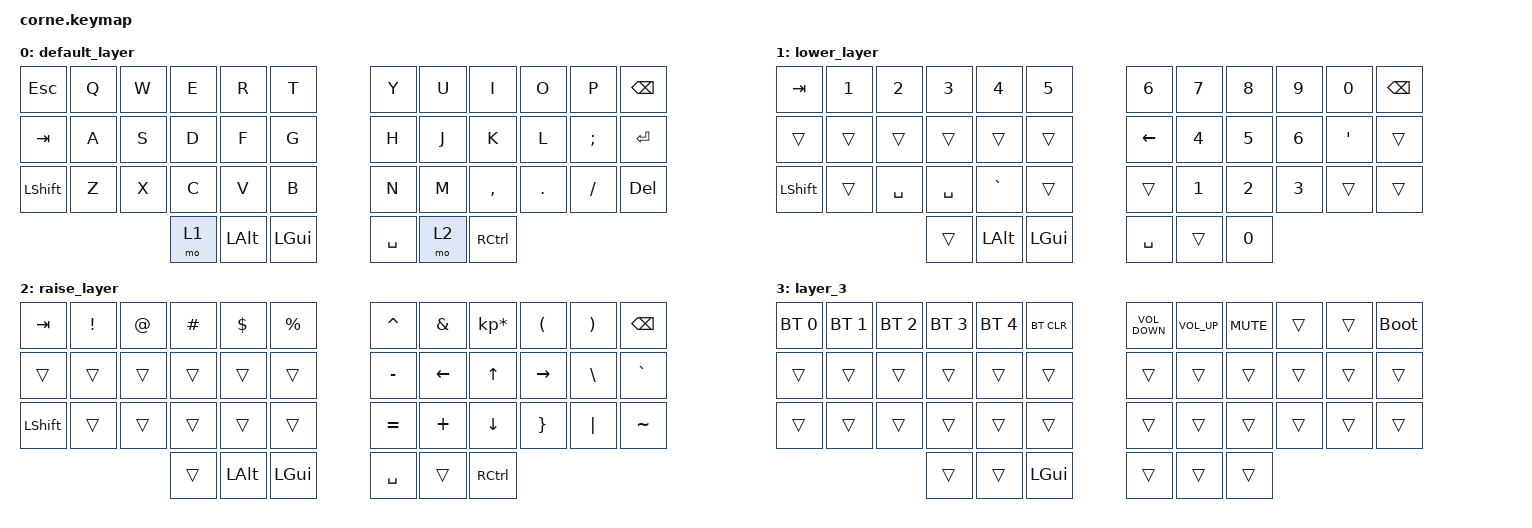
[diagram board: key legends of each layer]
/*
 * Copyright (c) 2020 The ZMK Contributors
 *
 * SPDX-License-Identifier: MIT
 */

#include <behaviors.dtsi>
#include <dt-bindings/zmk/keys.h>
#include <dt-bindings/zmk/bt.h>

/ {
    combos {
        compatible = "zmk,combos";

        Layer_3 {
            bindings = <&mo 3>;
            key-positions = <36 40>;
        };
    };

    keymap {
        compatible = "zmk,keymap";

        default_layer {
            // -----------------------------------------------------------------------------------------
            // |  TAB |  Q  |  W  |  E  |  R  |  T  |   |  Y  |  U   |  I  |  O  |  P  | BKSP |
            // | CTRL |  A  |  S  |  D  |  F  |  G  |   |  H  |  J   |  K  |  L  |  ;  |  '   |
            // | SHFT |  Z  |  X  |  C  |  V  |  B  |   |  N  |  M   |  ,  |  .  |  /  | ESC  |
            //                    | GUI | LWR | SPC |   | ENT | RSE  | ALT |

            bindings = <
  &kp ESC  &kp Q  &kp W  &kp E         &kp R         &kp T        &kp Y  &kp U              &kp I    &kp O     &kp P   &kp BSPC
  &kp TAB  &kp A  &kp S  &kp D         &kp F         &kp G        &kp H  &kp J              &kp K    &kp L  &kp SEMI  &kp ENTER
&kp LSHFT  &kp Z  &kp X  &kp C         &kp V         &kp B        &kp N  &kp M          &kp COMMA  &kp DOT  &kp FSLH    &kp DEL
                         &mo 1  &kp LEFT_ALT  &kp LEFT_GUI    &kp SPACE  &mo 2  &kp RIGHT_CONTROL
            >;
        };

        lower_layer {
            // -----------------------------------------------------------------------------------------
            // |  TAB |  1  |  2  |  3  |  4  |  5  |   |  6  |  7  |  8  |  9  |  0  | BKSP |
            // | BTCLR| BT1 | BT2 | BT3 | BT4 | BT5 |   | LFT | DWN |  UP | RGT |     |      |
            // | SHFT |     |     |     |     |     |   |     |     |     |     |     |      |
            //                    | GUI |     | SPC |   | ENT |     | ALT |

            bindings = <
  &kp TAB  &kp N1     &kp N2     &kp N3        &kp N4        &kp N5       &kp N6        &kp N7        &kp N8        &kp N9   &kp N0  &kp BSPC
   &trans  &trans     &trans     &trans        &trans        &trans     &kp LEFT  &kp NUMBER_4  &kp NUMBER_5  &kp NUMBER_6  &kp SQT    &trans
&kp LSHFT  &trans  &kp SPACE  &kp SPACE     &kp GRAVE        &trans       &trans  &kp NUMBER_1  &kp NUMBER_2  &kp NUMBER_3   &trans    &trans
                                 &trans  &kp LEFT_ALT  &kp LEFT_GUI    &kp SPACE        &trans  &kp NUMBER_0
            >;
        };

        raise_layer {
            // -----------------------------------------------------------------------------------------
            // |  TAB |  !  |  @  |  #  |  $  |  %  |   |  ^  |  &  |  *  |  (  |  )  | BKSP |
            // | CTRL |     |     |     |     |     |   |  -  |  =  |  [  |  ]  |  \  |  `   |
            // | SHFT |     |     |     |     |     |   |  _  |  +  |  {  |  }  | "|" |  ~   |
            //                    | GUI |     | SPC |   | ENT |     | ALT |

            bindings = <
  &kp TAB  &kp EXCL  &kp AT  &kp HASH      &kp DLLR     &kp PRCNT    &kp CARET        &kp AMPS    &kp KP_MULTIPLY         &kp LPAR  &kp RPAR   &kp BSPC
   &trans    &trans  &trans    &trans        &trans        &trans    &kp MINUS  &kp LEFT_ARROW             &kp UP  &kp RIGHT_ARROW  &kp BSLH  &kp GRAVE
&kp LSHFT    &trans  &trans    &trans        &trans        &trans    &kp EQUAL        &kp PLUS           &kp DOWN         &kp RBRC  &kp PIPE  &kp TILDE
                               &trans  &kp LEFT_ALT  &kp LEFT_GUI    &kp SPACE          &trans  &kp RIGHT_CONTROL
            >;
        };

        layer_3 {
            bindings = <
&bt BT_SEL 0  &bt BT_SEL 1  &bt BT_SEL 2  &bt BT_SEL 3  &bt BT_SEL 4    &bt BT_CLR    &kp C_VOLUME_DOWN  &kp C_VOL_UP  &kp K_MUTE  &trans  &trans  &bootloader
      &trans        &trans        &trans        &trans        &trans        &trans               &trans        &trans      &trans  &trans  &trans       &trans
      &trans        &trans        &trans        &trans        &trans        &trans               &trans        &trans      &trans  &trans  &trans       &trans
                                                &trans        &trans  &kp LEFT_GUI               &trans        &trans      &trans
            >;
        };
    };
};
